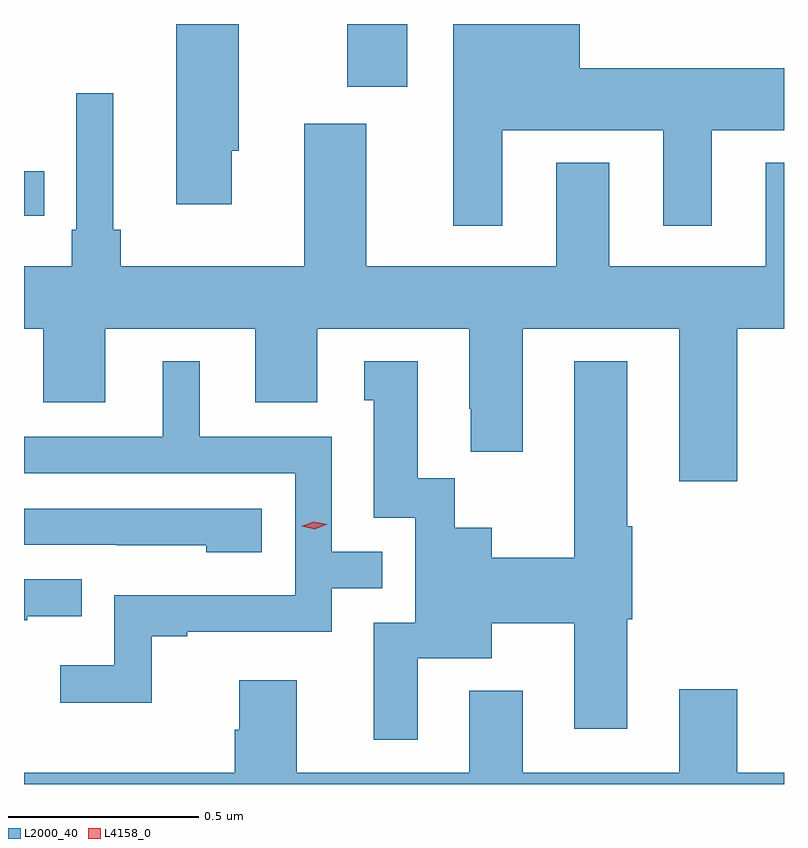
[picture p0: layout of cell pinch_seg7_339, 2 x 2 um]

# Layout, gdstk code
import gdstk
lib = gdstk.Library(unit=1e-6, precision=1e-09)
def R(c, l, rs):  # rectangles x0, y0, x1, y1
    for r in rs: c.add(gdstk.rectangle(r[:2], r[2:], *l))
def P(c, l, *ps):  # polygons
    for p in ps: c.add(gdstk.Polygon(p, *l))
L2000_40 = (2000, 40)
L4158_0 = (4158, 0)

pinch_seg7_339 = lib.new_cell('pinch_seg7_339')
R(pinch_seg7_339, L2000_40, [(428.007,1060.854,428.06,1060.97), (428.858,1061.193,429.016,1061.358)])
P(pinch_seg7_339, L2000_40, [(428.554,1061.025),(428.572,1061.025),(428.572,1061.358),(428.408,1061.358),(428.408,1060.884),(428.554,1060.884)],
  [(429.265,1061.078),(429.689,1061.078),(429.689,1060.827),(429.817,1060.827),(429.817,1061.078),(430.007,1061.078),(430.007,1061.242),(429.469,1061.242),(429.469,1061.358),(429.137,1061.358),(429.137,1060.827),(429.265,1060.827)],
  [(429.884,1060.556),(430.007,1060.556),(430.007,1060.993),(429.959,1060.993),(429.959,1060.72),(429.547,1060.72),(429.547,1060.993),(429.407,1060.993),(429.407,1060.72),(428.908,1060.72),(428.908,1061.095),(428.744,1061.095),(428.744,1060.72),(428.261,1060.72),(428.261,1060.816),(428.242,1060.816),(428.242,1061.176),(428.145,1061.176),(428.145,1060.816),(428.132,1060.816),(428.132,1060.72),(428.007,1060.72),(428.007,1060.556),(428.057,1060.556),(428.057,1060.362),(428.221,1060.362),(428.221,1060.556),(428.615,1060.556),(428.615,1060.362),(428.779,1060.362),(428.779,1060.556),(429.179,1060.556),(429.179,1060.345),(429.182,1060.345),(429.182,1060.233),(429.319,1060.233),(429.319,1060.556),(429.731,1060.556),(429.731,1060.155),(429.884,1060.155)],
  [(428.343,1059.747),(428.437,1059.747),(428.437,1059.759),(428.817,1059.759),(428.817,1059.873),(428.95,1059.873),(428.95,1059.969),(428.817,1059.969),(428.817,1060.272),(428.47,1060.272),(428.47,1060.471),(428.372,1060.471),(428.372,1060.272),(428.007,1060.272),(428.007,1060.176),(428.721,1060.176),(428.721,1059.855),(428.244,1059.855),(428.244,1059.67),(428.103,1059.67),(428.103,1059.572),(428.343,1059.572)],
  [(429.043,1059.689),(429.238,1059.689),(429.238,1059.781),(429.455,1059.781),(429.455,1059.504),(429.595,1059.504),(429.595,1059.792),(429.608,1059.792),(429.608,1060.036),(429.595,1060.036),(429.595,1060.471),(429.455,1060.471),(429.455,1059.953),(429.238,1059.953),(429.238,1060.033),(429.141,1060.033),(429.141,1060.163),(429.043,1060.163),(429.043,1060.471),(428.903,1060.471),(428.903,1060.368),(428.927,1060.368),(428.927,1060.059),(429.036,1060.059),(429.036,1059.783),(428.927,1059.783),(428.927,1059.474),(429.043,1059.474)],
  [(428.632,1060.083),(428.007,1060.083),(428.007,1059.987),(428.251,1059.987),(428.251,1059.986),(428.487,1059.986),(428.487,1059.968),(428.632,1059.968)],
  [(428.015,1059.8),(428.159,1059.8),(428.159,1059.897),(428.007,1059.897),(428.007,1059.789),(428.015,1059.789)],
  [(430.007,1059.388),(429.884,1059.388),(429.884,1059.607),(429.731,1059.607),(429.731,1059.388),(429.319,1059.388),(429.319,1059.604),(429.179,1059.604),(429.179,1059.388),(428.725,1059.388),(428.725,1059.631),(428.573,1059.631),(428.573,1059.501),(428.561,1059.501),(428.561,1059.388),(428.007,1059.388),(428.007,1059.358),(430.007,1059.358)])
P(pinch_seg7_339, L4158_0, [(428.772,1060.028),(428.737,1060.036),(428.737,1060.036),(428.737,1060.036),(428.77,1060.048),(428.805,1060.041),(428.806,1060.041),(428.805,1060.041)])

lib.write_gds('pinch_seg7_339.gds')
